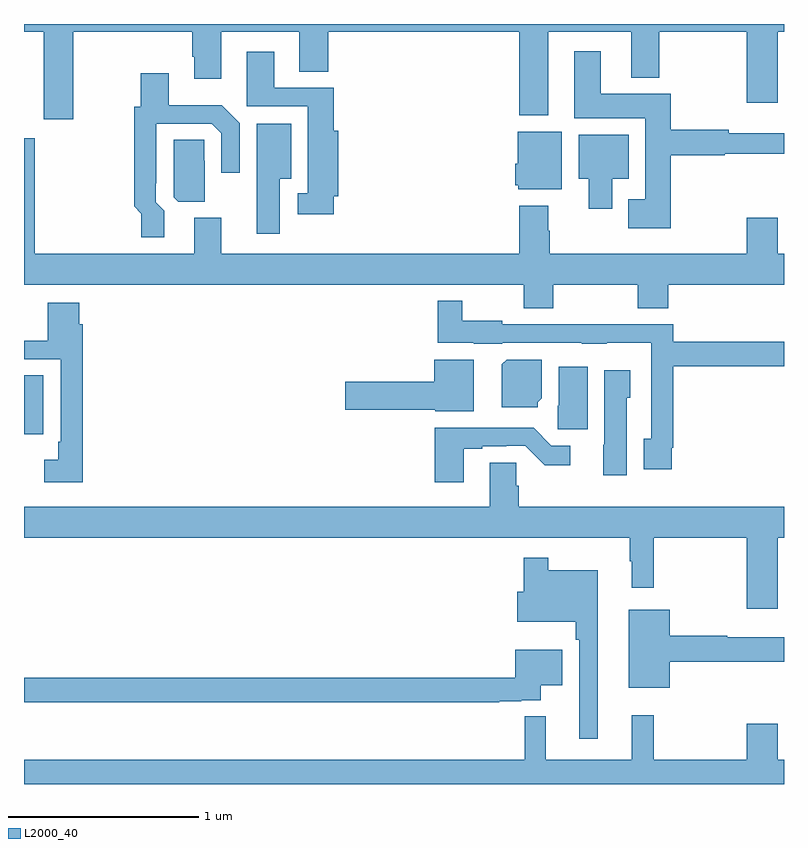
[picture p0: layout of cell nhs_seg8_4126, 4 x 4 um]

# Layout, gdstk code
import gdstk
lib = gdstk.Library(unit=1e-6, precision=1e-09)
def R(c, l, rs):  # rectangles x0, y0, x1, y1
    for r in rs: c.add(gdstk.rectangle(r[:2], r[2:], *l))
def P(c, l, *ps):  # polygons
    for p in ps: c.add(gdstk.Polygon(p, *l))
L2000_40 = (2000, 40)

nhs_seg8_4126 = lib.new_cell('nhs_seg8_4126')
R(nhs_seg8_4126, L2000_40, [(365,1087.74,365.101,1088.051)])
P(nhs_seg8_4126, L2000_40, [(365.259,1089.86),(365.885,1089.86),(365.885,1089.727),(365.897,1089.727),(365.897,1089.612),(366.037,1089.612),(366.037,1089.86),(366.449,1089.86),(366.449,1089.649),(366.602,1089.649),(366.602,1089.86),(367.607,1089.86),(367.607,1089.419),(367.759,1089.419),(367.759,1089.86),(368.195,1089.86),(368.195,1089.617),(368.343,1089.617),(368.343,1089.86),(368.804,1089.86),(368.804,1089.486),(368.968,1089.486),(368.968,1089.86),(369,1089.86),(369,1089.9),(365,1089.9),(365,1089.86),(365.104,1089.86),(365.104,1089.399),(365.259,1089.399)],
  [(368.405,1089.208),(368.688,1089.208),(368.688,1089.216),(369,1089.216),(369,1089.325),(368.708,1089.325),(368.708,1089.344),(368.405,1089.344),(368.405,1089.532),(368.035,1089.532),(368.035,1089.757),(367.895,1089.757),(367.895,1089.404),(368.27,1089.404),(368.27,1088.977),(368.18,1088.977),(368.18,1088.825),(368.405,1088.825)],
  [(366.629,1088.993),(366.655,1088.993),(366.655,1089.337),(366.629,1089.337),(366.629,1089.564),(366.316,1089.564),(366.316,1089.754),(366.173,1089.754),(366.173,1089.468),(366.494,1089.468),(366.494,1089.01),(366.441,1089.01),(366.441,1088.9),(366.629,1088.9)],
  [(365.737,1088.918),(365.694,1088.961),(365.694,1089.061),(365.697,1089.061),(365.697,1089.375),(365.988,1089.375),(366.039,1089.324),(366.039,1089.117),(366.135,1089.117),(366.135,1089.378),(366.041,1089.472),(365.761,1089.472),(365.761,1089.64),(365.614,1089.64),(365.614,1089.465),(365.581,1089.465),(365.581,1089.122),(365.579,1089.122),(365.579,1088.94),(365.617,1088.901),(365.617,1088.778),(365.737,1088.778)],
  [(366.346,1089.086),(366.406,1089.086),(366.406,1089.376),(366.224,1089.376),(366.224,1088.796),(366.346,1088.796)],
  [(367.831,1089.334),(367.598,1089.334),(367.598,1089.165),(367.586,1089.165),(367.586,1089.051),(367.602,1089.051),(367.602,1089.029),(367.831,1089.029)],
  [(368.095,1089.086),(368.182,1089.086),(368.182,1089.316),(367.919,1089.316),(367.919,1089.086),(367.973,1089.086),(367.973,1088.928),(368.095,1088.928)],
  [(367.785,1088.528),(368.23,1088.528),(368.23,1088.404),(368.39,1088.404),(368.39,1088.528),(369,1088.528),(369,1088.692),(368.968,1088.692),(368.968,1088.881),(368.804,1088.881),(368.804,1088.692),(367.767,1088.692),(367.767,1088.813),(367.759,1088.813),(367.759,1088.944),(367.607,1088.944),(367.607,1088.692),(366.037,1088.692),(366.037,1088.88),(365.897,1088.88),(365.897,1088.692),(365.056,1088.692),(365.056,1089.298),(365,1089.298),(365,1088.528),(367.63,1088.528),(367.63,1088.404),(367.785,1088.404)],
  [(365.95,1089.179),(365.949,1089.179),(365.949,1089.29),(365.787,1089.29),(365.787,1088.988),(365.811,1088.965),(365.95,1088.965)],
  [(368.41,1087.669),(368.417,1087.669),(368.417,1088.098),(369,1088.098),(369,1088.227),(368.417,1088.227),(368.417,1088.319),(368.167,1088.319),(368.167,1088.321),(367.935,1088.321),(367.935,1088.319),(367.518,1088.319),(367.518,1088.338),(367.306,1088.338),(367.306,1088.443),(367.177,1088.443),(367.177,1088.222),(367.368,1088.222),(367.368,1088.216),(367.518,1088.216),(367.518,1088.223),(367.935,1088.223),(367.935,1088.216),(368.067,1088.216),(368.067,1088.222),(368.301,1088.222),(368.301,1087.718),(368.261,1087.718),(368.261,1087.557),(368.41,1087.557)],
  [(365.309,1088.321),(365.29,1088.321),(365.29,1088.434),(365.126,1088.434),(365.126,1088.232),(365,1088.232),(365,1088.136),(365.193,1088.136),(365.193,1087.702),(365.181,1087.702),(365.181,1087.606),(365.106,1087.606),(365.106,1087.487),(365.309,1087.487)],
  [(367.704,1087.908),(367.726,1087.93),(367.726,1088.134),(367.54,1088.134),(367.514,1088.108),(367.514,1087.883),(367.704,1087.883)],
  [(367.366,1088.132),(367.16,1088.132),(367.16,1088.018),(366.69,1088.018),(366.69,1087.871),(367.164,1087.871),(367.164,1087.862),(367.366,1087.862)],
  [(367.966,1088.095),(367.814,1088.095),(367.814,1087.89),(367.81,1087.89),(367.81,1087.767),(367.966,1087.767)],
  [(368.173,1087.932),(368.191,1087.932),(368.191,1088.077),(368.054,1088.077),(368.054,1087.686),(368.048,1087.686),(368.048,1087.524),(368.173,1087.524)],
  [(367.315,1087.665),(367.411,1087.665),(367.411,1087.677),(367.538,1087.677),(367.538,1087.68),(367.638,1087.68),(367.741,1087.578),(367.876,1087.578),(367.876,1087.68),(367.776,1087.68),(367.682,1087.774),(367.163,1087.774),(367.163,1087.488),(367.315,1087.488)],
  [(368.968,1087.196),(369,1087.196),(369,1087.36),(367.604,1087.36),(367.604,1087.47),(367.59,1087.47),(367.59,1087.592),(367.451,1087.592),(367.451,1087.36),(365,1087.36),(365,1087.196),(368.187,1087.196),(368.187,1087.073),(368.198,1087.073),(368.198,1086.933),(368.315,1086.933),(368.315,1087.196),(368.804,1087.196),(368.804,1086.822),(368.968,1086.822)],
  [(368.02,1087.024),(367.759,1087.024),(367.759,1087.09),(367.63,1087.09),(367.63,1086.913),(367.596,1086.913),(367.596,1086.755),(367.903,1086.755),(367.903,1086.659),(367.923,1086.659),(367.923,1086.138),(368.02,1086.138)],
  [(368.398,1086.544),(369,1086.544),(369,1086.673),(368.7,1086.673),(368.7,1086.68),(368.398,1086.68),(368.398,1086.817),(368.183,1086.817),(368.183,1086.407),(368.398,1086.407)],
  [(367.502,1086.336),(367.616,1086.336),(367.616,1086.342),(367.72,1086.342),(367.72,1086.419),(367.834,1086.419),(367.834,1086.607),(367.586,1086.607),(367.586,1086.458),(365,1086.458),(365,1086.33),(367.502,1086.33)],
  [(365,1085.9),(369,1085.9),(369,1086.028),(368.968,1086.028),(368.968,1086.217),(368.804,1086.217),(368.804,1086.028),(368.315,1086.028),(368.315,1086.262),(368.198,1086.262),(368.198,1086.028),(367.745,1086.028),(367.745,1086.257),(367.636,1086.257),(367.636,1086.028),(365,1086.028)])

lib.write_gds('nhs_seg8_4126.gds')
